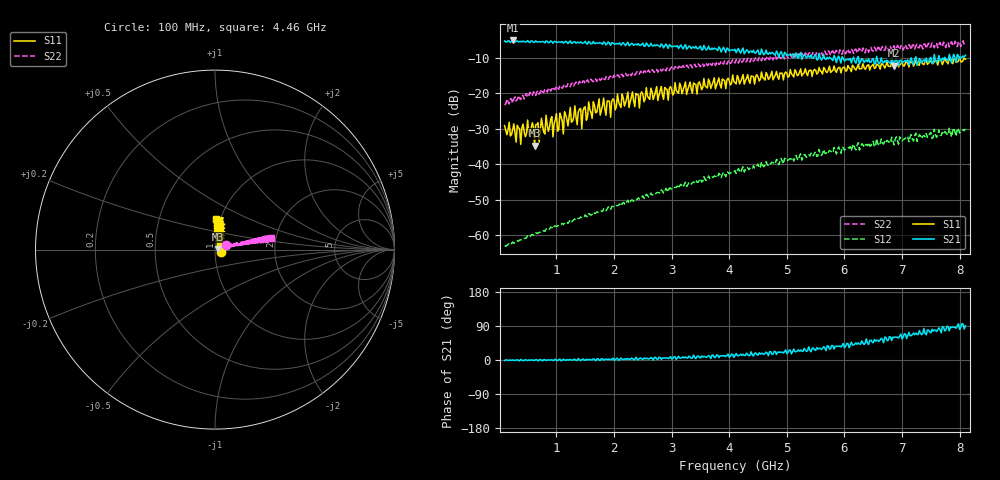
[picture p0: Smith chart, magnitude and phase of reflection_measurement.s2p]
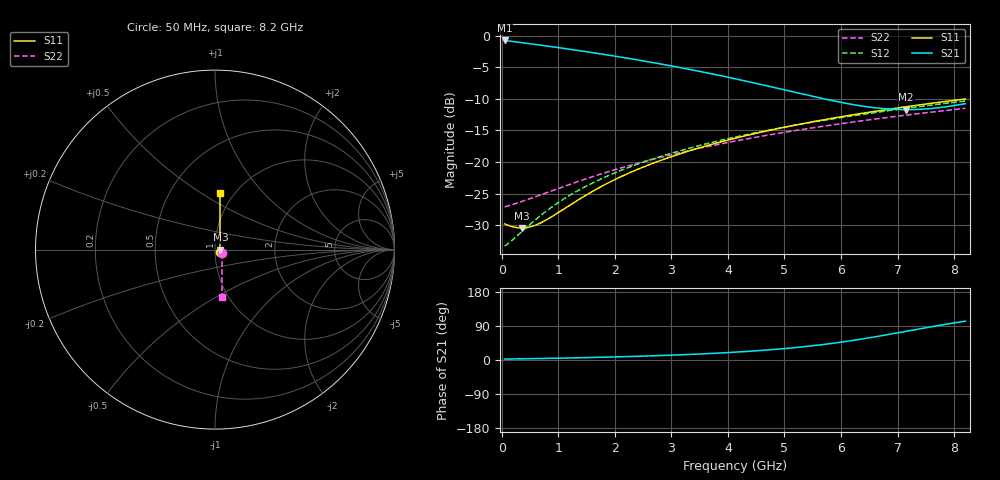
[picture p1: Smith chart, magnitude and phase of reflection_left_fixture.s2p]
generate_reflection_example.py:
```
from __future__ import annotations

from pathlib import Path

import numpy as np

from rfdeembed193.deembed import s_to_transmission, transmission_to_s
from rfdeembed193.touchstone import write_touchstone

from .generate_example import LEFT, LEFT_SCALE, RIGHT, RIGHT_SCALE, frequency_dependent

VELOCITY_M_PER_S = 2.0e8
REFLECTIONS_PORT1 = ((1.2, 0.30), (2.8, 0.15))  # (distance_m, amplitude)
REFLECTIONS_PORT2 = ((3.5, 0.20),)


def reflection_series(frequencies: np.ndarray, reflections: tuple[tuple[float, float], ...]) -> np.ndarray:
    series = np.zeros(frequencies.size, dtype=np.complex128)
    for distance, amplitude in reflections:
        delay = 2.0 * distance / VELOCITY_M_PER_S
        series += amplitude * np.exp(-2j * np.pi * frequencies * delay)
    return series


def main() -> None:
    output = Path(__file__).resolve().parent
    measurement_frequencies = np.linspace(100.0e6, 8.1e9, 401)  # uniform 20 MHz spacing
    fixture_frequencies = np.linspace(50.0e6, 8.2e9, 164)

    device_s = np.zeros((measurement_frequencies.size, 2, 2), dtype=np.complex128)
    device_s[:, 0, 0] = reflection_series(measurement_frequencies, REFLECTIONS_PORT1)
    device_s[:, 1, 1] = reflection_series(measurement_frequencies, REFLECTIONS_PORT2)
    device_s[:, 1, 0] = 0.70 + 0.02j
    device_s[:, 0, 1] = 0.70 - 0.02j

    left_at_measurement = frequency_dependent(LEFT, measurement_frequencies, LEFT_SCALE)
    right_at_measurement = frequency_dependent(RIGHT, measurement_frequencies, RIGHT_SCALE)
    measured_t = (
        s_to_transmission(left_at_measurement, measurement_frequencies, "left")
        @ s_to_transmission(device_s, measurement_frequencies, "device")
        @ s_to_transmission(right_at_measurement, measurement_frequencies, "right")
    )
    measured_s = transmission_to_s(measured_t, measurement_frequencies, "measurement")

    left_s = frequency_dependent(LEFT, fixture_frequencies, LEFT_SCALE)
    right_s = frequency_dependent(RIGHT, fixture_frequencies, RIGHT_SCALE)

    (output / "reflection_measurement.s2p").write_bytes(write_touchstone(measurement_frequencies, measured_s, 50.0))
    (output / "reflection_left_fixture.s2p").write_bytes(write_touchstone(fixture_frequencies, left_s, 50.0))
    (output / "reflection_right_fixture.s2p").write_bytes(write_touchstone(fixture_frequencies, right_s, 50.0))


if __name__ == "__main__":
    main()
```
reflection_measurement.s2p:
# Hz S RI R 50
! Hz S11_real S11_imag S21_real S21_imag S12_real S12_imag S22_real S22_imag
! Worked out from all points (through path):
!   401 points, 100 MHz to 8.1 GHz, reference 50 ohm
!   highest |S21| = -5.12 dB at 240 MHz (marker M1); lowest = -12.3 dB at 6.86 GHz (marker M2)
!   lowest |S11| = -34.8 dB at 620 MHz (marker M3), VSWR 1.04, Z = 51.8 + j0.383 ohm
!   |S11| at or under -10 dB: start of sweep to 7.995 GHz; 8.004 GHz to end of sweep
!   |S22| runs from -23.3 to -5.2 dB; largest |S21 - S12| = 0.55
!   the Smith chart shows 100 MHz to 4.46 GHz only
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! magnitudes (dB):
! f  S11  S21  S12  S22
! 100 MHz  -29.1  -5.2  -62.9  -23.3
! 240 MHz  -30.3  -5.1  -62.0  -22.8
! 620 MHz  -34.8  -5.7  -60.0  -19.8
! 660 MHz  -28.9  -5.5  -59.6  -19.6
! 780 MHz  -31.0  -5.5  -58.8  -19.8
! 980 MHz  -27.4  -5.4  -57.5  -18.9
! 1.28 GHz  -27.9  -5.8  -56.1  -17.2
! 2.1 GHz  -23.3  -5.8  -51.3  -15.6
! 4.1 GHz  -17.0  -7.6  -41.8  -11.5
! 6.86 GHz  -12.4  -12.3  -34.6  -6.6
! 8.1 GHz  -10.4  -9.3  -30.1  -6.4
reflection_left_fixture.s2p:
# Hz S RI R 50
! Hz S11_real S11_imag S21_real S21_imag S12_real S12_imag S22_real S22_imag
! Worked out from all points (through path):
!   164 points, 50 MHz to 8.2 GHz, reference 50 ohm
!   highest |S21| = -0.75 dB at 50 MHz (marker M1); lowest = -11.7 dB at 7.15 GHz (marker M2)
!   lowest |S11| = -30.5 dB at 350 MHz (marker M3), VSWR 1.06, Z = 53.1 + j0 ohm
!   |S11| at or under -10 dB: start of sweep to end of sweep
!   |S22| runs from -27.1 to -11.5 dB; largest |S21 - S12| = 0.9
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5e7  0.03 -0.012  0.916 0.0385  0.0185 0.011  0.04 -0.0185
3.5e8  0.03 0  0.88 0.0475  0.0275 0.005  0.04 -0.0275
6.5e8  0.03 0.012  0.844 0.0565  0.0365 -0.001  0.04 -0.0365
1.05e9  0.03 0.028  0.796 0.0685  0.0485 -0.009  0.04 -0.0485
1.85e9  0.03 0.06  0.7 0.0925  0.0725 -0.025  0.04 -0.0725
2.85e9  0.03 0.1  0.58 0.1225  0.1025 -0.045  0.04 -0.1025
4.15e9  0.03 0.152  0.424 0.1615  0.1415 -0.071  0.04 -0.1415
6.15e9  0.03 0.232  0.184 0.2215  0.2015 -0.111  0.04 -0.2015
7.15e9  0.03 0.272  0.064 0.2515  0.2315 -0.131  0.04 -0.2315
7.65e9  0.03 0.292  0.004 0.2665  0.2465 -0.141  0.04 -0.2465
8.2e9  0.03 0.314  -0.062 0.283  0.263 -0.152  0.04 -0.263
